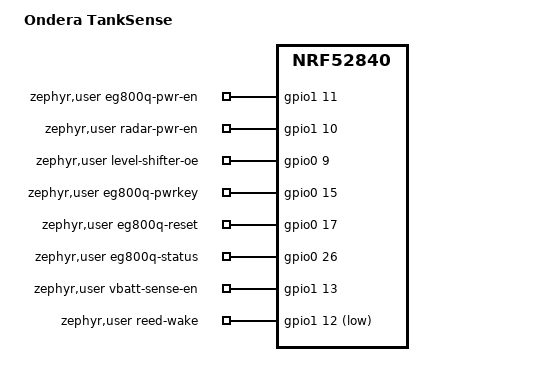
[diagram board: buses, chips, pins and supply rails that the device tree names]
/dts-v1/;

#include <nordic/nrf52840_qiaa.dtsi>
#include "tanksense-pinctrl.dtsi"

/ {
	model = "Ondera TankSense";
	compatible = "Ondera,tanksense";

	chosen {
		zephyr,sram = &sram0;
		zephyr,flash = &flash0;
		zephyr,code-partition = &slot0_partition;
	};

	/* Board control pins, from the 02_NRF52840 sheet */
	zephyr,user {
		eg800q-pwr-en-gpios    = <&gpio1 11 GPIO_ACTIVE_HIGH>; /* U1 TPS22918 ON   */
		radar-pwr-en-gpios     = <&gpio1 10 GPIO_ACTIVE_HIGH>; /* Q2 XC6220 CE     */
		level-shifter-oe-gpios = <&gpio0 9  GPIO_ACTIVE_HIGH>; /* U6 TXS0108E OE   */
		eg800q-pwrkey-gpios    = <&gpio0 15 GPIO_ACTIVE_HIGH>; /* via TXS - see HW issue */
		eg800q-reset-gpios     = <&gpio0 17 GPIO_ACTIVE_HIGH>; /* via TXS - see HW issue */
		eg800q-status-gpios    = <&gpio0 26 GPIO_ACTIVE_HIGH>;
		vbatt-sense-en-gpios   = <&gpio1 13 GPIO_ACTIVE_HIGH>; /* Q3 BSS138 gate   */
		reed-wake-gpios        = <&gpio1 12 (GPIO_ACTIVE_LOW | GPIO_PULL_UP)>;
	};
};

&gpiote { status = "okay"; };
&gpio0  { status = "okay"; };
&gpio1  { status = "okay"; };

/* DC/DC converters (reg0/reg1) deliberately NOT enabled - debug-loss investigation */

/* NFC pins as GPIO (matches factory UICR). PSELRESET deliberately NOT set. */
&uicr {
	nfct-pins-as-gpios;
};

/* EG800Q main UART - DISABLED until TX/RX direction is confirmed */
&uart0 {
	compatible = "nordic,nrf-uarte";
	status = "disabled";
	current-speed = <115200>;
	pinctrl-0 = <&uart0_default>;
	pinctrl-1 = <&uart0_sleep>;
	pinctrl-names = "default", "sleep";
	hw-flow-control;
};

&flash0 {
	partitions {
		#address-cells = <1>;
		#size-cells = <1>;
		ranges;

		boot_partition: partition@0 {
			compatible = "zephyr,mapped-partition";
			label = "mcuboot";
			reg = <0x0 DT_SIZE_K(48)>;
		};
		slot0_partition: partition@c000 {
			compatible = "zephyr,mapped-partition";
			label = "image-0";
			reg = <0xc000 DT_SIZE_K(472)>;
		};
		slot1_partition: partition@82000 {
			compatible = "zephyr,mapped-partition";
			label = "image-1";
			reg = <0x82000 DT_SIZE_K(472)>;
		};
		storage_partition: partition@f8000 {
			compatible = "zephyr,mapped-partition";
			label = "storage";
			reg = <0xf8000 DT_SIZE_K(32)>;
		};
	};
};
